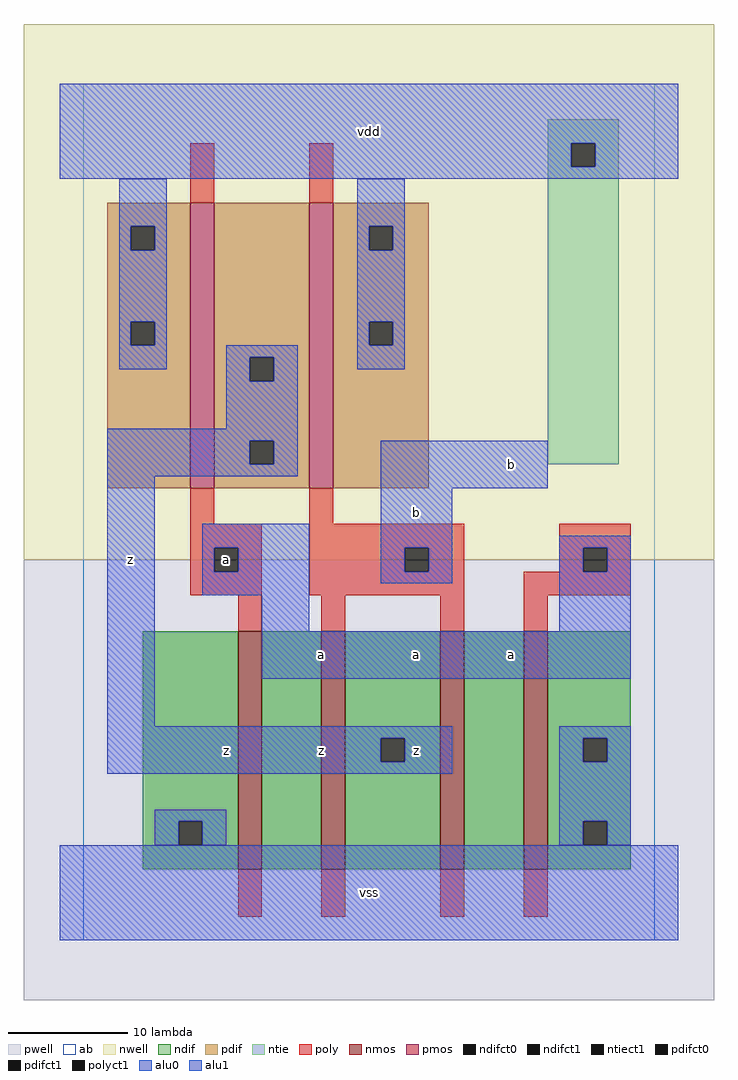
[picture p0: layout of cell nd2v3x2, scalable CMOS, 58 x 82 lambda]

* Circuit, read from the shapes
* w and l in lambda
.subckt nd2v3x2 a b vdd vss z
M1 n1 a vss VSUBS nfet w=20 l=2
M2 z b n1 VSUBS nfet w=20 l=2
M3 n2 b z VSUBS nfet w=20 l=2
M4 vss a n2 VSUBS nfet w=20 l=2
M5 z a vdd vdd pfet w=24 l=2
M6 vdd b z vdd pfet w=24 l=2
.ends

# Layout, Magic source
magic
tech scmos
<< ab >>
rect 0 0 48 72
<< nwell >>
rect -5 32 53 77
<< pwell >>
rect -5 -5 53 32
<< poly >>
rect 9 62 11 67
rect 19 62 21 67
rect 9 35 11 38
rect 19 35 21 38
rect 9 33 15 35
rect 9 31 11 33
rect 13 31 15 33
rect 9 29 15 31
rect 19 33 32 35
rect 19 31 27 33
rect 29 31 32 33
rect 40 33 46 35
rect 40 31 42 33
rect 44 31 46 33
rect 19 29 32 31
rect 13 26 15 29
rect 20 26 22 29
rect 30 26 32 29
rect 37 29 46 31
rect 37 26 39 29
rect 13 2 15 6
rect 20 2 22 6
rect 30 2 32 6
rect 37 2 39 6
<< ndif >>
rect 5 10 13 26
rect 5 8 8 10
rect 10 8 13 10
rect 5 6 13 8
rect 15 6 20 26
rect 22 17 30 26
rect 22 15 25 17
rect 27 15 30 17
rect 22 6 30 15
rect 32 6 37 26
rect 39 17 46 26
rect 39 15 42 17
rect 44 15 46 17
rect 39 10 46 15
rect 39 8 42 10
rect 44 8 46 10
rect 39 6 46 8
<< pdif >>
rect 2 60 9 62
rect 2 58 4 60
rect 6 58 9 60
rect 2 52 9 58
rect 2 50 4 52
rect 6 50 9 52
rect 2 38 9 50
rect 11 49 19 62
rect 11 47 14 49
rect 16 47 19 49
rect 11 42 19 47
rect 11 40 14 42
rect 16 40 19 42
rect 11 38 19 40
rect 21 60 29 62
rect 21 58 24 60
rect 26 58 29 60
rect 21 52 29 58
rect 21 50 24 52
rect 26 50 29 52
rect 21 38 29 50
<< alu1 >>
rect -2 67 50 72
rect -2 65 41 67
rect 43 65 50 67
rect -2 64 50 65
rect 12 49 18 50
rect 12 47 14 49
rect 16 47 18 49
rect 12 43 18 47
rect 2 42 18 43
rect 2 40 14 42
rect 16 40 18 42
rect 2 39 18 40
rect 2 18 6 39
rect 25 38 39 42
rect 10 33 19 35
rect 10 31 11 33
rect 13 31 19 33
rect 10 29 19 31
rect 25 33 31 38
rect 25 31 27 33
rect 29 31 31 33
rect 25 30 31 31
rect 40 33 46 34
rect 40 31 42 33
rect 44 31 46 33
rect 15 26 19 29
rect 40 26 46 31
rect 15 22 46 26
rect 2 17 31 18
rect 2 15 25 17
rect 27 15 31 17
rect 2 14 31 15
rect -2 0 50 8
<< ntie >>
rect 39 67 45 69
rect 39 65 41 67
rect 43 65 45 67
rect 39 40 45 65
<< nmos >>
rect 13 6 15 26
rect 20 6 22 26
rect 30 6 32 26
rect 37 6 39 26
<< pmos >>
rect 9 38 11 62
rect 19 38 21 62
<< polyct1 >>
rect 11 31 13 33
rect 27 31 29 33
rect 42 31 44 33
<< ndifct0 >>
rect 8 8 10 10
rect 42 15 44 17
rect 42 8 44 10
<< ndifct1 >>
rect 25 15 27 17
<< ntiect1 >>
rect 41 65 43 67
<< pdifct0 >>
rect 4 58 6 60
rect 4 50 6 52
rect 24 58 26 60
rect 24 50 26 52
<< pdifct1 >>
rect 14 47 16 49
rect 14 40 16 42
<< alu0 >>
rect 3 60 7 64
rect 3 58 4 60
rect 6 58 7 60
rect 3 52 7 58
rect 3 50 4 52
rect 6 50 7 52
rect 23 60 27 64
rect 23 58 24 60
rect 26 58 27 60
rect 23 52 27 58
rect 23 50 24 52
rect 26 50 27 52
rect 3 48 7 50
rect 23 48 27 50
rect 40 17 46 18
rect 40 15 42 17
rect 44 15 46 17
rect 6 10 12 11
rect 6 8 8 10
rect 10 8 12 10
rect 40 10 46 15
rect 40 8 42 10
rect 44 8 46 10
<< labels >>
rlabel alu1 4 32 4 32 6 z
rlabel alu1 20 16 20 16 6 z
rlabel alu1 12 16 12 16 6 z
rlabel polyct1 12 32 12 32 6 a
rlabel alu1 20 24 20 24 6 a
rlabel alu1 24 4 24 4 6 vss
rlabel alu1 28 16 28 16 6 z
rlabel alu1 28 24 28 24 6 a
rlabel alu1 28 36 28 36 6 b
rlabel alu1 24 68 24 68 6 vdd
rlabel alu1 36 24 36 24 6 a
rlabel alu1 36 40 36 40 6 b
<< end >>
